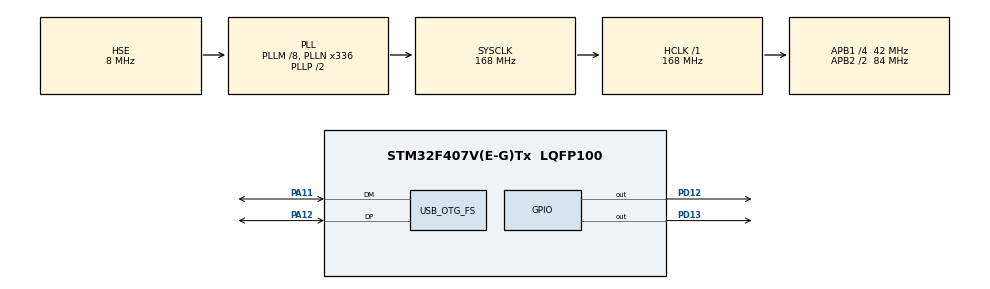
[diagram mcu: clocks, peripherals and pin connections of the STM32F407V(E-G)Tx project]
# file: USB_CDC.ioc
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FREERTOS.Queues01=usbRxQueue,16,64,1,Dynamic,NULL,NULL
FREERTOS.Tasks01=cliTask,24,512,StartCliTask,Default,NULL,Dynamic,NULL,NULL;heartbeatTask,8,256,StartHeartbeatTask,Default,NULL,Dynamic,NULL,NULL
FREERTOS.configGENERATE_RUN_TIME_STATS=1
FREERTOS.configUSE_NEWLIB_REENTRANT=1
FREERTOS.configUSE_STATS_FORMATTING_FUNCTIONS=1
Mcu.Family=STM32F4
Mcu.Name=STM32F407V(E-G)Tx
Mcu.Package=LQFP100
NVIC.OTG_FS_IRQn=true\:5\:0\:false\:false\:true\:true\:false\:true\:true
NVIC.PriorityGroup=NVIC_PRIORITYGROUP_4
NVIC.TIM1_UP_TIM10_IRQn=true\:15\:0\:false\:false\:true\:false\:false\:true\:true
NVIC.TimeBase=TIM1_UP_TIM10_IRQn
NVIC.TimeBaseIP=TIM1
PA11.Mode=Device_Only
PA11.Signal=USB_OTG_FS_DM
PA12.Mode=Device_Only
PA12.Signal=USB_OTG_FS_DP
PA13.Mode=Serial_Wire
PA13.Signal=SYS_JTMS-SWDIO
PA14.Mode=Serial_Wire
PA14.Signal=SYS_JTCK-SWCLK
PD12.Signal=GPIO_Output
PD13.Signal=GPIO_Output
PH0-OSC_IN.Mode=HSE-External-Oscillator
PH0-OSC_IN.Signal=RCC_OSC_IN
PH1-OSC_OUT.Mode=HSE-External-Oscillator
PH1-OSC_OUT.Signal=RCC_OSC_OUT
ProjectManager.HeapSize=0x200
ProjectManager.StackSize=0x400
ProjectManager.TargetToolchain=STM32CubeIDE
RCC.48MHZClocksFreq_Value=48000000
RCC.AHBFreq_Value=168000000
RCC.APB1CLKDivider=RCC_HCLK_DIV4
RCC.APB1Freq_Value=42000000
RCC.APB1TimFreq_Value=84000000
RCC.APB2CLKDivider=RCC_HCLK_DIV2
RCC.APB2Freq_Value=84000000
RCC.APB2TimFreq_Value=168000000
RCC.CortexFreq_Value=168000000
RCC.HCLKFreq_Value=168000000
RCC.HSE_VALUE=8000000
RCC.HSI_VALUE=16000000
RCC.LSE_VALUE=32768
RCC.PLLM=8
RCC.PLLN=336
RCC.PLLQ=7
RCC.SYSCLKFreq_VALUE=168000000
RCC.SYSCLKSource=RCC_SYSCLKSOURCE_PLLCLK
RCC.VCOOutputFreq_Value=336000000
USB_DEVICE.CLASS_NAME_FS=CDC
USB_DEVICE.VirtualMode-CDC_FS=Cdc
USB_DEVICE.VirtualModeFS=Cdc_FS
USB_OTG_FS.VirtualMode=Device_Only
VP_FREERTOS_VS_CMSIS_V2.Mode=CMSIS_V2
VP_SYS_VS_tim1.Mode=TIM1
VP_TIM2_VS_ClockSourceINT.Mode=Internal
VP_USB_DEVICE_VS_USB_DEVICE_CDC_FS.Mode=CDC_FS
board=custom

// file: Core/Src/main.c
/* USER CODE BEGIN Header */
/**
  ******************************************************************************
  * @file           : main.c
  * @brief          : Main program body
  ******************************************************************************
  * @attention
  *
  * Copyright (c) 2026 STMicroelectronics.
  * All rights reserved.
  *
  * This software is licensed under terms that can be found in the LICENSE file
  * in the root directory of this software component.
  * If no LICENSE file comes with this software, it is provided AS-IS.
  *
  ******************************************************************************
  */
/* USER CODE END Header */
#include "main.h"
#include "cmsis_os.h"
#include "usb_device.h"

/* USER CODE BEGIN Includes */
#include <usbd_cdc_if.h>
#include <stdio.h>
#include <string.h>
#include "task.h"
/* USER CODE END Includes */

TIM_HandleTypeDef htim2;

/* Definitions for cliTask */
osThreadId_t cliTaskHandle;
const osThreadAttr_t cliTask_attributes = {
  .name = "cliTask",
  .stack_size = 512 * 4,
  .priority = (osPriority_t) osPriorityNormal,
};
/* Definitions for heartbeatTask */
osThreadId_t heartbeatTaskHandle;
const osThreadAttr_t heartbeatTask_attributes = {
  .name = "heartbeatTask",
  .stack_size = 256 * 4,
  .priority = (osPriority_t) osPriorityLow,
};
/* Definitions for usbRxQueue */
osMessageQueueId_t usbRxQueueHandle;
const osMessageQueueAttr_t usbRxQueue_attributes = {
  .name = "usbRxQueue"
};
/* USER CODE BEGIN PV */
char txBuffer[512];
uint32_t lastHeartbeatTick =0;
/* USER CODE END PV */

void SystemClock_Config(void);
static void MX_GPIO_Init(void);
static void MX_TIM2_Init(void);
void StartCliTask(void *argument);
void StartHeartbeatTask(void *argument);

/* USER CODE BEGIN 0 */
extern uint8_t UserRxBufferFS[APP_RX_DATA_SIZE];
extern uint32_t rec_Len;
extern uint8_t rec_Done;

/* USER CODE END 0 */

int main(void)
{

  /* MCU Configuration--------------------------------------------------------*/

  /* Reset of all peripherals, Initializes the Flash interface and the Systick. */
  HAL_Init();

  /* Configure the system clock */
  SystemClock_Config();

  /* Initialize all configured peripherals */
  MX_GPIO_Init();
  MX_TIM2_Init();

  /* Init scheduler */
  osKernelInitialize();

  /* Create the queue(s) */
  /* creation of usbRxQueue */
  usbRxQueueHandle = osMessageQueueNew (16, 64, &usbRxQueue_attributes);

  /* Create the thread(s) */
  /* creation of cliTask */
  cliTaskHandle = osThreadNew(StartCliTask, NULL, &cliTask_attributes);

  /* creation of heartbeatTask */
  heartbeatTaskHandle = osThreadNew(StartHeartbeatTask, NULL, &heartbeatTask_attributes);

  /* Start scheduler */
  osKernelStart();

  /* We should never get here as control is now taken by the scheduler */

  /* Infinite loop */
  while (1)
  {

    /* USER CODE BEGIN 3 */
//	  if (HAL_GetTick() - lastHeartbeatTick >=500 ){
//		  lastHeartbeatTick = HAL_GetTick();
//		  HAL_GPIO_TogglePin(GPIOD,GPIO_PIN_13);
//	  }
//
//	  if(rec_Done==1){
//
//	  	  	rec_Done=0;
//
//	  	  	if (strncmp((char *)UserRxBufferFS,"HELP",4)==0){
//	  	  		int len =snprintf(txBuffer,sizeof(txBuffer),"\r\n--CLI COMNDS--\r\n"
//	  	  				"Help = show cmd menu\r\n"
//	  	  				"Uptime = show system run time\r\n"
//	  	  				"Led on/off = toggle led \r\n ");
//	  	  		CDC_Transmit_FS((uint8_t *)txBuffer,(uint16_t)len);
//	  	  	}
//
//
//	  	  	else if (strncmp((char *)UserRxBufferFS,"ON",2)==0){
//	  	  		HAL_GPIO_WritePin(GPIOD,GPIO_PIN_12,GPIO_PIN_SET);
//	  	  		CDC_Transmit_FS((uint8_t *)"LED ON\r\n",7);
//	  	  	}
//	  	  	else if(strncmp((char *)UserRxBufferFS,"OFF",3)==0){
//	  	  		HAL_GPIO_WritePin(GPIOD,GPIO_PIN_12,GPIO_PIN_RESET);
//	  	  		CDC_Transmit_FS((uint8_t *)"LED OFF\r\n",8);
//	  	  	}
//	  	  	else{
//	  	  		CDC_Transmit_FS((uint8_t *)"unknown cmd\r\n",12);
//
//	  	  	}
//
//	  	  }
   }
  /* USER CODE END 3 */
}

void SystemClock_Config(void)
{
  RCC_OscInitTypeDef RCC_OscInitStruct = {0};
  RCC_ClkInitTypeDef RCC_ClkInitStruct = {0};

  /** Configure the main internal regulator output voltage
  */
  __HAL_RCC_PWR_CLK_ENABLE();
  __HAL_PWR_VOLTAGESCALING_CONFIG(PWR_REGULATOR_VOLTAGE_SCALE1);

  /** Initializes the RCC Oscillators according to the specified parameters
  * in the RCC_OscInitTypeDef structure.
  */
  RCC_OscInitStruct.OscillatorType = RCC_OSCILLATORTYPE_HSE;
  RCC_OscInitStruct.HSEState = RCC_HSE_ON;
  RCC_OscInitStruct.PLL.PLLState = RCC_PLL_ON;
  RCC_OscInitStruct.PLL.PLLSource = RCC_PLLSOURCE_HSE;
  RCC_OscInitStruct.PLL.PLLM = 8;
  RCC_OscInitStruct.PLL.PLLN = 336;
  RCC_OscInitStruct.PLL.PLLP = RCC_PLLP_DIV2;
  RCC_OscInitStruct.PLL.PLLQ = 7;
  if (HAL_RCC_OscConfig(&RCC_OscInitStruct) != HAL_OK)
  {
    Error_Handler();
  }

  /** Initializes the CPU, AHB and APB buses clocks
  */
  RCC_ClkInitStruct.ClockType = RCC_CLOCKTYPE_HCLK|RCC_CLOCKTYPE_SYSCLK
                              |RCC_CLOCKTYPE_PCLK1|RCC_CLOCKTYPE_PCLK2;
  RCC_ClkInitStruct.SYSCLKSource = RCC_SYSCLKSOURCE_PLLCLK;
  RCC_ClkInitStruct.AHBCLKDivider = RCC_SYSCLK_DIV1;
  RCC_ClkInitStruct.APB1CLKDivider = RCC_HCLK_DIV4;
  RCC_ClkInitStruct.APB2CLKDivider = RCC_HCLK_DIV2;

  if (HAL_RCC_ClockConfig(&RCC_ClkInitStruct, FLASH_LATENCY_5) != HAL_OK)
  {
    Error_Handler();
  }
}

static void MX_TIM2_Init(void)
{

  TIM_ClockConfigTypeDef sClockSourceConfig = {0};
  TIM_MasterConfigTypeDef sMasterConfig = {0};

  htim2.Instance = TIM2;
  htim2.Init.Prescaler = 83;
  htim2.Init.CounterMode = TIM_COUNTERMODE_UP;
  htim2.Init.Period = 4294967295;
  htim2.Init.ClockDivision = TIM_CLOCKDIVISION_DIV1;
  htim2.Init.AutoReloadPreload = TIM_AUTORELOAD_PRELOAD_DISABLE;
  if (HAL_TIM_Base_Init(&htim2) != HAL_OK)
  {
    Error_Handler();
  }
  sClockSourceConfig.ClockSource = TIM_CLOCKSOURCE_INTERNAL;
  if (HAL_TIM_ConfigClockSource(&htim2, &sClockSourceConfig) != HAL_OK)
  {
    Error_Handler();
  }
  sMasterConfig.MasterOutputTrigger = TIM_TRGO_RESET;
  sMasterConfig.MasterSlaveMode = TIM_MASTERSLAVEMODE_DISABLE;
  if (HAL_TIMEx_MasterConfigSynchronization(&htim2, &sMasterConfig) != HAL_OK)
  {
    Error_Handler();
  }

}

static void MX_GPIO_Init(void)
{
  GPIO_InitTypeDef GPIO_InitStruct = {0};

  /* GPIO Ports Clock Enable */
  __HAL_RCC_GPIOH_CLK_ENABLE();
  __HAL_RCC_GPIOD_CLK_ENABLE();
  __HAL_RCC_GPIOA_CLK_ENABLE();

  /*Configure GPIO pin Output Level */
  HAL_GPIO_WritePin(GPIOD, GPIO_PIN_12|GPIO_PIN_13, GPIO_PIN_RESET);

  /*Configure GPIO pins : PD12 PD13 */
  GPIO_InitStruct.Pin = GPIO_PIN_12|GPIO_PIN_13;
  GPIO_InitStruct.Mode = GPIO_MODE_OUTPUT_PP;
  GPIO_InitStruct.Pull = GPIO_NOPULL;
  GPIO_InitStruct.Speed = GPIO_SPEED_FREQ_LOW;
  HAL_GPIO_Init(GPIOD, &GPIO_InitStruct);

}

void StartCliTask(void *argument)
{
  /* init code for USB_DEVICE */
  MX_USB_DEVICE_Init();
  /* USER CODE BEGIN 5 */
  char rxCmd[64];

  /* Infinite loop */
  for(;;)
  {
    if (osMessageQueueGet(usbRxQueueHandle, rxCmd, NULL, osWaitForever) == osOK)
    {
      if (strncmp(rxCmd, "HELP", 4) == 0)
      {
        int len = snprintf(txBuffer, sizeof(txBuffer),
                           "\r\n--- REAL-TIME PROFILER SHELL ---\r\n"
                           "HELP   : Show command menu\r\n"
                           "UPTIME : Show OS uptime\r\n"
                           "TASKS  : CPU utilization & execution stats\r\n"
                           "MEM    : Task stack high-water marks\r\n"
                           "ON/OFF : Control Green LED\r\n"
                           "--------------------------------\r\n");
        CDC_Transmit_FS((uint8_t *)txBuffer, (uint16_t)len);
      }
      else if (strncmp(rxCmd, "TASKS", 5) == 0)
      {
        int headerLen = snprintf(txBuffer, sizeof(txBuffer),
                                 "\r\nTask\t\tAbs Time(us)\t%% Time\r\n"
                                 "-----------------------------------------\r\n");
        vTaskGetRunTimeStats(txBuffer + headerLen);
        CDC_Transmit_FS((uint8_t *)txBuffer, (uint16_t)strlen(txBuffer));
      }
      else if (strncmp(rxCmd, "MEM", 3) == 0)
      {
        int headerLen = snprintf(txBuffer, sizeof(txBuffer),
                                 "\r\nTask\t\tState\tPrio\tMin Free Stack\tNum\r\n"
                                 "-----------------------------------------------------\r\n");
        vTaskList(txBuffer + headerLen);
        CDC_Transmit_FS((uint8_t *)txBuffer, (uint16_t)strlen(txBuffer));
      }
      else if (strncmp(rxCmd, "UPTIME", 6) == 0)
      {
        uint32_t totalSec = osKernelGetTickCount() / 1000;
        uint32_t hours   = totalSec / 3600;
        uint32_t minutes = (totalSec % 3600) / 60;
        uint32_t seconds = totalSec % 60;

        int len = snprintf(txBuffer, sizeof(txBuffer),
                           "OS Uptime: %02lu:%02lu:%02lu\r\n",
                           hours, minutes, seconds);
        CDC_Transmit_FS((uint8_t *)txBuffer, (uint16_t)len);
      }
      else if (strncmp(rxCmd, "ON", 2) == 0)
      {
        HAL_GPIO_WritePin(GPIOD, GPIO_PIN_12, GPIO_PIN_SET);
        CDC_Transmit_FS((uint8_t *)"LED ON\r\n", 8);
      }
      else if (strncmp(rxCmd, "OFF", 3) == 0)
      {
        HAL_GPIO_WritePin(GPIOD, GPIO_PIN_12, GPIO_PIN_RESET);
        CDC_Transmit_FS((uint8_t *)"LED OFF\r\n", 9);
      }
      else
      {
        CDC_Transmit_FS((uint8_t *)"Err: Unknown command\r\n", 22);
      }
    }
  }
  /* USER CODE END 5 */
}

void StartHeartbeatTask(void *argument)
{
  /* USER CODE BEGIN StartHeartbeatTask */
  /* Infinite loop */
  for(;;)
  {
    HAL_GPIO_TogglePin(GPIOD, GPIO_PIN_13);
    // Yields the CPU to allow lower priority tasks or IDLE to run for 500ms
    osDelay(500);
  }
  /* USER CODE END StartHeartbeatTask */
}

void HAL_TIM_PeriodElapsedCallback(TIM_HandleTypeDef *htim)
{
  if (htim->Instance == TIM1)
  {
    HAL_IncTick();
  }
}

void Error_Handler(void)
{
  __disable_irq();
  while (1)
  {
  }
}
